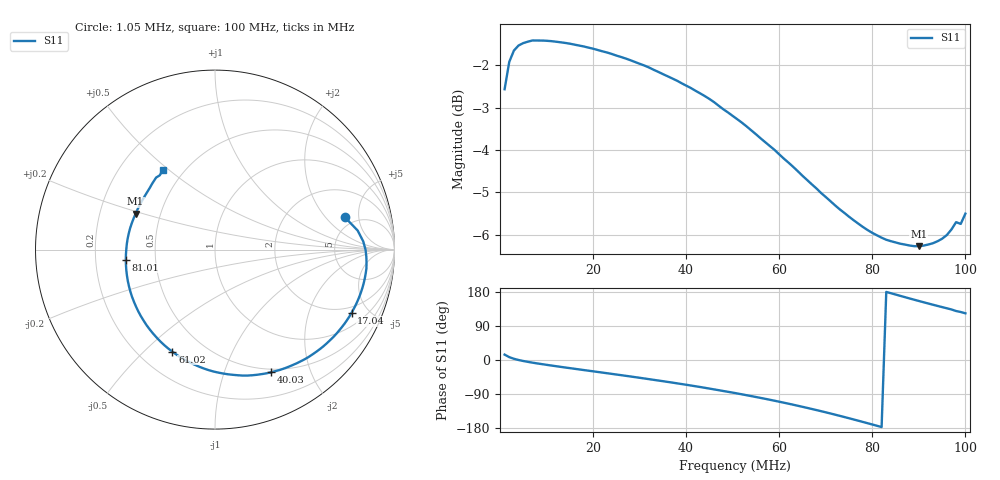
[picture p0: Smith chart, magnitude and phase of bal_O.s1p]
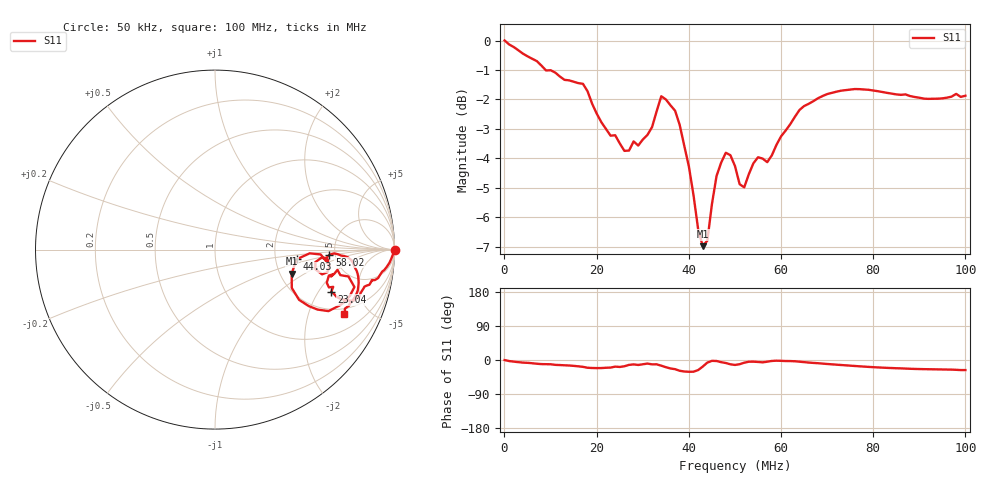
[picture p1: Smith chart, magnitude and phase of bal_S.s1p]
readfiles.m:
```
% Closing all windows and clearing variables for ease of use
close all;
clear all;

% Reading and storing the data from the files
f = dlmread('bal_O.s1p','','A2..A100');

bal_O = dlmread('bal_O.s1p','','B2..B100') + ...
     1i*dlmread('bal_O.s1p','','C2..C100');

bal_S = dlmread('bal_S.s1p','','B2..B100') + ...
     1i*dlmread('bal_S.s1p','','C2..C100');

bal_T = dlmread('bal_T.s1p','','B2..B100') + ...
     1i*dlmread('bal_T.s1p','','C2..C100');

cab_S = dlmread('cab_S.s1p','','B2..B100') + ...
     1i*dlmread('cab_S.s1p','','C2..C100');

cab_O = dlmread('cab_O.s1p','','B2..B100') + ...
     1i*dlmread('cab_O.s1p','','C2..C100');

% Computing BALUN impedances for 47 ohm termination
ZBO = 47*(1+bal_O)./(1-bal_O);
ZBS = 47*(1+bal_S)./(1-bal_S);
ZBT = 47*(1+bal_T)./(1-bal_T);

% Computing ABCD parameters
A = ZBO.*sqrt((ZBS-ZBT)./(47*(ZBT-ZBO).*(ZBO-ZBS)));
B = ZBS.*sqrt(47*(ZBT-ZBO)./((ZBS-ZBT).*(ZBO-ZBS)));
C = sqrt((ZBS-ZBT)./(47*(ZBT-ZBO).*(ZBO-ZBS)));
D = sqrt(47*(ZBT-ZBO)./((ZBS-ZBT).*(ZBO-ZBS)));

% Computing CABLE impedances
Z1CO = 47*(1+cab_O)./(1-cab_O);
Z1CS = 47*(1+cab_S)./(1-cab_S);
Z2CO = (B-D.*Z1CO)./(C.*Z1CO-A);
Z2CS = (B-(D.*Z1CS))./((C.*Z1CS)-A);

% Computing characteristic impedance and propagation constant
ZW = sqrt(Z2CS.*Z2CO);
gamma = atanh(sqrt(Z2CS./Z2CO));
ReG = real(gamma);
ImG = imag(gamma);

% Plotting
figure(1);
plot(f,abs(ZW));
title('Amplitude of Characteristic Impedance');
xlabel('Frequency [Hz]');
ylabel('Magnitude of ZW)');

figure(2);
plot(f,angle(ZW)*(180/pi));
title('Phase of Characteristic Impedance');
xlabel('Frequency [Hz]');
ylabel('Phase of ZW');

figure(3);
ReGnp = ReG*(20/log(10));
plot(f,ReGnp);
title('Attenuation');
xlabel('Frequency [Hz]');
ylabel('Re(Gamma)');

figure(4);
plot(f,ImG);
title('Phase Constant');
xlabel('Frequency [Hz]');
ylabel('Im(Gamma) [rad/m]');
```
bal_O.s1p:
# Hz S RI R 50
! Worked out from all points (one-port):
!   100 points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, 1.05 MHz to 100 MHz, reference 50 ohm
!   lowest |S11| = -6.3 dB at 90 MHz (marker M1), VSWR 2.89, Z = 18 + j9.4 ohm
!   |S11| at or under -10 dB: nowhere
!   S11 on the Smith chart (normalised r, x): 1.05 MHz: 4.02, +3.30; 17.04 MHz: 1.64, -3.89; 40.03 MHz: 0.46, -1.46; 61.02 MHz: 0.33, -0.61; 81.01 MHz: 0.33, -0.05; 100 MHz: 0.39, +0.48
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1049500  0.7216 0.1827
3048500  0.8258 0.046
5047500  0.8431 -0.0387
1.70415e7  0.761 -0.3518
2.6037e7  0.6228 -0.5222
3.4033e7  0.4574 -0.6324
4.003e7  0.3142 -0.683
5.10245e7  0.0199 -0.6856
6.10195e7  -0.2374 -0.5687
6.70165e7  -0.3634 -0.4451
7.4013e7  -0.4627 -0.2616
8.10095e7  -0.497 -0.0559
9.0005e7  -0.4428 0.1993
1e8  -0.2903 0.444
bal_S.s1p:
# Hz S RI R 50
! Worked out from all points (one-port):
!   101 points, 50 kHz to 100 MHz, reference 50 ohm
!   lowest |S11| = -7.0 dB at 43.03 MHz (marker M1), VSWR 2.62, Z = 116 - j38.6 ohm
!   |S11| at or under -10 dB: nowhere
!   S11 on the Smith chart (normalised r, x): 50 kHz: open; 23.04 MHz: 2.92, -2.62; 44.03 MHz: 2.63, -0.36; 58.02 MHz: 4.49, -0.43; 100 MHz: 1.69, -3.47
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50000  1 -0.00305
1.8041e7  0.7684 -0.2867
2.30385e7  0.6478 -0.2358
3.10345e7  0.6822 -0.1127
3.4033e7  0.7768 -0.2085
3.8031e7  0.6321 -0.3426
4.10295e7  0.4686 -0.2801
4.30285e7  0.4272 -0.1335
4.4028e7  0.4542 -0.0542
4.8026e7  0.6388 -0.0883
5.2024e7  0.5589 -0.0701
5.8021e7  0.6379 -0.0281
6.70165e7  0.7819 -0.105
1e8  0.7208 -0.3604
